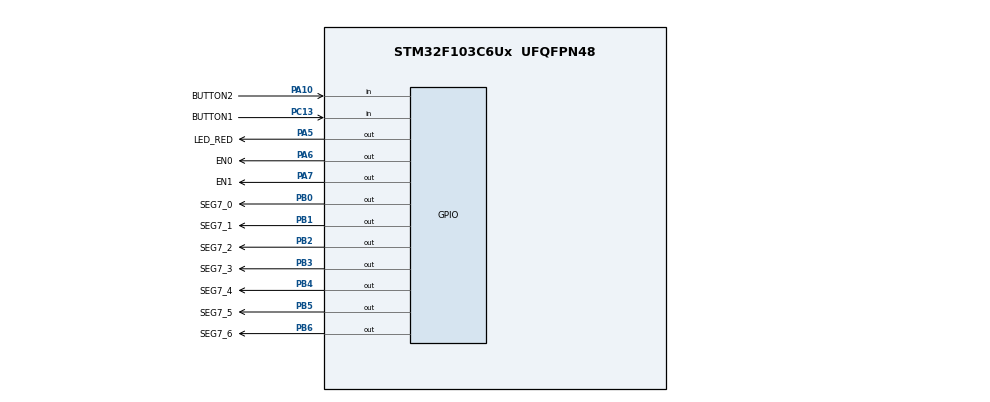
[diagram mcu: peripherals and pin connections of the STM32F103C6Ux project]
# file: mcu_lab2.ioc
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Mcu.Family=STM32F1
Mcu.Name=STM32F103C6Ux
Mcu.Package=UFQFPN48
NVIC.PriorityGroup=NVIC_PRIORITYGROUP_4
NVIC.TIM2_IRQn=true\:0\:0\:false\:false\:true\:true\:true
PA10.GPIO_Label=BUTTON2
PA10.GPIO_PuPd=GPIO_PULLUP
PA10.Signal=GPIO_Input
PA5.GPIO_Label=LED_RED
PA5.Signal=GPIO_Output
PA6.GPIO_Label=EN0
PA6.Signal=GPIO_Output
PA7.GPIO_Label=EN1
PA7.Signal=GPIO_Output
PB0.GPIO_Label=SEG7_0
PB0.Signal=GPIO_Output
PB1.GPIO_Label=SEG7_1
PB1.Signal=GPIO_Output
PB2.GPIO_Label=SEG7_2
PB2.Signal=GPIO_Output
PB3.GPIO_Label=SEG7_3
PB3.Signal=GPIO_Output
PB4.GPIO_Label=SEG7_4
PB4.Signal=GPIO_Output
PB5.GPIO_Label=SEG7_5
PB5.Signal=GPIO_Output
PB6.GPIO_Label=SEG7_6
PB6.Signal=GPIO_Output
PC13-TAMPER-RTC.GPIO_Label=BUTTON1
PC13-TAMPER-RTC.GPIO_PuPd=GPIO_PULLUP
PC13-TAMPER-RTC.Signal=GPIO_Input
ProjectManager.HeapSize=0x200
ProjectManager.StackSize=0x400
ProjectManager.TargetToolchain=STM32CubeIDE
RCC.APB1Freq_Value=8000000
RCC.APB2Freq_Value=8000000
TIM2.Period=9
TIM2.Prescaler=7999
VP_SYS_VS_ND.Mode=No_Debug
VP_TIM2_VS_ClockSourceINT.Mode=Internal
board=custom

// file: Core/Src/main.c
/* USER CODE BEGIN Header */
/**
  ******************************************************************************
  * @file           : main.c
  * @brief          : Main program body
  ******************************************************************************
  * @attention
  *
  * <h2><center>&copy; Copyright (c) 2022 STMicroelectronics.
  * All rights reserved.</center></h2>
  *
  * This software component is licensed by ST under BSD 3-Clause license,
  * the "License"; You may not use this file except in compliance with the
  * License. You may obtain a copy of the License at:
  *                        opensource.org/licenses/BSD-3-Clause
  *
  ******************************************************************************
  */
/* USER CODE END Header */
#include "main.h"

/* USER CODE BEGIN Includes */
#include "software_timer.h"
/* USER CODE END Includes */

TIM_HandleTypeDef htim2;

void SystemClock_Config(void);
static void MX_TIM2_Init(void);
static void MX_GPIO_Init(void);

/* USER CODE BEGIN 0 */
void display7SEG(int num) {
  switch(num) {
	  case 0 : {
		  HAL_GPIO_WritePin(SEG7_0_GPIO_Port, SEG7_0_Pin, 0);
		  HAL_GPIO_WritePin(SEG7_1_GPIO_Port, SEG7_1_Pin, 0);
		  HAL_GPIO_WritePin(SEG7_2_GPIO_Port, SEG7_2_Pin, 0);
		  HAL_GPIO_WritePin(SEG7_3_GPIO_Port, SEG7_3_Pin, 0);
		  HAL_GPIO_WritePin(SEG7_4_GPIO_Port, SEG7_4_Pin, 0);
		  HAL_GPIO_WritePin(SEG7_5_GPIO_Port, SEG7_5_Pin, 0);
		  HAL_GPIO_WritePin(SEG7_6_GPIO_Port, SEG7_6_Pin, 1);
		  break;
	  }

	  case 1 : {
		  HAL_GPIO_WritePin(SEG7_0_GPIO_Port, SEG7_0_Pin, 1);
		  HAL_GPIO_WritePin(SEG7_1_GPIO_Port, SEG7_1_Pin, 0);
		  HAL_GPIO_WritePin(SEG7_2_GPIO_Port, SEG7_2_Pin, 0);
		  HAL_GPIO_WritePin(SEG7_3_GPIO_Port, SEG7_3_Pin, 1);
		  HAL_GPIO_WritePin(SEG7_4_GPIO_Port, SEG7_4_Pin, 1);
		  HAL_GPIO_WritePin(SEG7_5_GPIO_Port, SEG7_5_Pin, 1);
		  HAL_GPIO_WritePin(SEG7_6_GPIO_Port, SEG7_6_Pin, 1);
		  break;
	  }

	  case 2 : {
		  HAL_GPIO_WritePin(SEG7_0_GPIO_Port, SEG7_0_Pin, 0);
		  HAL_GPIO_WritePin(SEG7_1_GPIO_Port, SEG7_1_Pin, 0);
		  HAL_GPIO_WritePin(SEG7_2_GPIO_Port, SEG7_2_Pin, 1);
		  HAL_GPIO_WritePin(SEG7_3_GPIO_Port, SEG7_3_Pin, 0);
		  HAL_GPIO_WritePin(SEG7_4_GPIO_Port, SEG7_4_Pin, 0);
		  HAL_GPIO_WritePin(SEG7_5_GPIO_Port, SEG7_5_Pin, 1);
		  HAL_GPIO_WritePin(SEG7_6_GPIO_Port, SEG7_6_Pin, 0);
		  break;
	  }
	  case 3 : {
		  HAL_GPIO_WritePin(SEG7_0_GPIO_Port, SEG7_0_Pin, 0);
		  HAL_GPIO_WritePin(SEG7_1_GPIO_Port, SEG7_1_Pin, 0);
		  HAL_GPIO_WritePin(SEG7_2_GPIO_Port, SEG7_2_Pin, 0);
		  HAL_GPIO_WritePin(SEG7_3_GPIO_Port, SEG7_3_Pin, 0);
		  HAL_GPIO_WritePin(SEG7_4_GPIO_Port, SEG7_4_Pin, 1);
		  HAL_GPIO_WritePin(SEG7_5_GPIO_Port, SEG7_5_Pin, 1);
		  HAL_GPIO_WritePin(SEG7_6_GPIO_Port, SEG7_6_Pin, 0);
		  break;
	  }
	  case 4 : {
		  HAL_GPIO_WritePin(SEG7_0_GPIO_Port, SEG7_0_Pin, 1);
		  HAL_GPIO_WritePin(SEG7_1_GPIO_Port, SEG7_1_Pin, 0);
		  HAL_GPIO_WritePin(SEG7_2_GPIO_Port, SEG7_2_Pin, 0);
		  HAL_GPIO_WritePin(SEG7_3_GPIO_Port, SEG7_3_Pin, 1);
		  HAL_GPIO_WritePin(SEG7_4_GPIO_Port, SEG7_4_Pin, 1);
		  HAL_GPIO_WritePin(SEG7_5_GPIO_Port, SEG7_5_Pin, 0);
		  HAL_GPIO_WritePin(SEG7_6_GPIO_Port, SEG7_6_Pin, 0);
		  break;
	  }
	  case 5 : {
		  HAL_GPIO_WritePin(SEG7_0_GPIO_Port, SEG7_0_Pin, 0);
		  HAL_GPIO_WritePin(SEG7_1_GPIO_Port, SEG7_1_Pin, 1);
		  HAL_GPIO_WritePin(SEG7_2_GPIO_Port, SEG7_2_Pin, 0);
		  HAL_GPIO_WritePin(SEG7_3_GPIO_Port, SEG7_3_Pin, 0);
		  HAL_GPIO_WritePin(SEG7_4_GPIO_Port, SEG7_4_Pin, 1);
		  HAL_GPIO_WritePin(SEG7_5_GPIO_Port, SEG7_5_Pin, 0);
		  HAL_GPIO_WritePin(SEG7_6_GPIO_Port, SEG7_6_Pin, 0);
		  break;
	  }
	  case 6 : {
		  HAL_GPIO_WritePin(SEG7_0_GPIO_Port, SEG7_0_Pin, 0);
		  HAL_GPIO_WritePin(SEG7_1_GPIO_Port, SEG7_1_Pin, 1);
		  HAL_GPIO_WritePin(SEG7_2_GPIO_Port, SEG7_2_Pin, 0);
		  HAL_GPIO_WritePin(SEG7_3_GPIO_Port, SEG7_3_Pin, 0);
		  HAL_GPIO_WritePin(SEG7_4_GPIO_Port, SEG7_4_Pin, 0);
		  HAL_GPIO_WritePin(SEG7_5_GPIO_Port, SEG7_5_Pin, 0);
		  HAL_GPIO_WritePin(SEG7_6_GPIO_Port, SEG7_6_Pin, 0);
		  break;
	  }
	  case 7 : {
		  HAL_GPIO_WritePin(SEG7_0_GPIO_Port, SEG7_0_Pin, 0);
		  HAL_GPIO_WritePin(SEG7_1_GPIO_Port, SEG7_1_Pin, 0);
		  HAL_GPIO_WritePin(SEG7_2_GPIO_Port, SEG7_2_Pin, 0);
		  HAL_GPIO_WritePin(SEG7_3_GPIO_Port, SEG7_3_Pin, 1);
		  HAL_GPIO_WritePin(SEG7_4_GPIO_Port, SEG7_4_Pin, 1);
		  HAL_GPIO_WritePin(SEG7_5_GPIO_Port, SEG7_5_Pin, 1);
		  HAL_GPIO_WritePin(SEG7_6_GPIO_Port, SEG7_6_Pin, 1);
		  break;
	  }
	  case 8 : {
		  HAL_GPIO_WritePin(SEG7_0_GPIO_Port, SEG7_0_Pin, 0);
		  HAL_GPIO_WritePin(SEG7_1_GPIO_Port, SEG7_1_Pin, 0);
		  HAL_GPIO_WritePin(SEG7_2_GPIO_Port, SEG7_2_Pin, 0);
		  HAL_GPIO_WritePin(SEG7_3_GPIO_Port, SEG7_3_Pin, 0);
		  HAL_GPIO_WritePin(SEG7_4_GPIO_Port, SEG7_4_Pin, 0);
		  HAL_GPIO_WritePin(SEG7_5_GPIO_Port, SEG7_5_Pin, 0);
		  HAL_GPIO_WritePin(SEG7_6_GPIO_Port, SEG7_6_Pin, 0);
		  break;
	  }
	  case 9 : {
		  HAL_GPIO_WritePin(SEG7_0_GPIO_Port, SEG7_0_Pin, 0);
		  HAL_GPIO_WritePin(SEG7_1_GPIO_Port, SEG7_1_Pin, 0);
		  HAL_GPIO_WritePin(SEG7_2_GPIO_Port, SEG7_2_Pin, 0);
		  HAL_GPIO_WritePin(SEG7_3_GPIO_Port, SEG7_3_Pin, 0);
		  HAL_GPIO_WritePin(SEG7_4_GPIO_Port, SEG7_4_Pin, 1);
		  HAL_GPIO_WritePin(SEG7_5_GPIO_Port, SEG7_5_Pin, 0);
		  HAL_GPIO_WritePin(SEG7_6_GPIO_Port, SEG7_6_Pin, 0);
		  break;
	  }

	  default : {
		  HAL_GPIO_WritePin(SEG7_0_GPIO_Port, SEG7_0_Pin, 1);
		  HAL_GPIO_WritePin(SEG7_1_GPIO_Port, SEG7_1_Pin, 1);
		  HAL_GPIO_WritePin(SEG7_2_GPIO_Port, SEG7_2_Pin, 1);
		  HAL_GPIO_WritePin(SEG7_3_GPIO_Port, SEG7_3_Pin, 1);
		  HAL_GPIO_WritePin(SEG7_4_GPIO_Port, SEG7_4_Pin, 1);
		  HAL_GPIO_WritePin(SEG7_5_GPIO_Port, SEG7_5_Pin, 1);
		  HAL_GPIO_WritePin(SEG7_6_GPIO_Port, SEG7_6_Pin, 1);
		  break;
	  }
  }
}
/* USER CODE END 0 */

int main(void)
{

  /* MCU Configuration--------------------------------------------------------*/

  /* Reset of all peripherals, Initializes the Flash interface and the Systick. */
  HAL_Init();

  /* Configure the system clock */
  SystemClock_Config();

  /* Initialize all configured peripherals */
  MX_TIM2_Init();
  MX_GPIO_Init();
  /* USER CODE BEGIN 2 */
  HAL_TIM_Base_Start_IT(&htim2);
  /* USER CODE END 2 */

  /* Infinite loop */
  /* USER CODE BEGIN WHILE */
  setTimer1(200);
  setTimer2(300);
  int status = 0;
  while (1)
  {
//	 if (timer1_flag == 1) {
//		 // TODO
//		 setTimer1(200);
//		 HAL_GPIO_WritePin(GPIOA, GPIO_PIN_5, 0);
//		 HAL_GPIO_WritePin(GPIOA, GPIO_PIN_6, 1);
//	 }
//
//	 if (timer2_flag == 1) {
//		 // TODO
//		 setTimer2(300);
//		 HAL_GPIO_WritePin(GPIOA, GPIO_PIN_5, 1);
//		 HAL_GPIO_WritePin(GPIOA, GPIO_PIN_6, 0);
//	 }

//	  if (HAL_GPIO_ReadPin(GPIOA, BUTTON1_Pin) == 0){
//		  HAL_GPIO_TogglePin(GPIOA, GPIO_PIN_5);
//	  }
    /* USER CODE END WHILE */

  }
}

void SystemClock_Config(void)
{
  RCC_OscInitTypeDef RCC_OscInitStruct = {0};
  RCC_ClkInitTypeDef RCC_ClkInitStruct = {0};

  /** Initializes the RCC Oscillators according to the specified parameters
  * in the RCC_OscInitTypeDef structure.
  */
  RCC_OscInitStruct.OscillatorType = RCC_OSCILLATORTYPE_HSI;
  RCC_OscInitStruct.HSIState = RCC_HSI_ON;
  RCC_OscInitStruct.HSICalibrationValue = RCC_HSICALIBRATION_DEFAULT;
  RCC_OscInitStruct.PLL.PLLState = RCC_PLL_NONE;
  if (HAL_RCC_OscConfig(&RCC_OscInitStruct) != HAL_OK)
  {
    Error_Handler();
  }
  /** Initializes the CPU, AHB and APB buses clocks
  */
  RCC_ClkInitStruct.ClockType = RCC_CLOCKTYPE_HCLK|RCC_CLOCKTYPE_SYSCLK
                              |RCC_CLOCKTYPE_PCLK1|RCC_CLOCKTYPE_PCLK2;
  RCC_ClkInitStruct.SYSCLKSource = RCC_SYSCLKSOURCE_HSI;
  RCC_ClkInitStruct.AHBCLKDivider = RCC_SYSCLK_DIV1;
  RCC_ClkInitStruct.APB1CLKDivider = RCC_HCLK_DIV1;
  RCC_ClkInitStruct.APB2CLKDivider = RCC_HCLK_DIV1;

  if (HAL_RCC_ClockConfig(&RCC_ClkInitStruct, FLASH_LATENCY_0) != HAL_OK)
  {
    Error_Handler();
  }
}

static void MX_TIM2_Init(void)
{

  TIM_ClockConfigTypeDef sClockSourceConfig = {0};
  TIM_MasterConfigTypeDef sMasterConfig = {0};

  htim2.Instance = TIM2;
  htim2.Init.Prescaler = 7999;
  htim2.Init.CounterMode = TIM_COUNTERMODE_UP;
  htim2.Init.Period = 9;
  htim2.Init.ClockDivision = TIM_CLOCKDIVISION_DIV1;
  htim2.Init.AutoReloadPreload = TIM_AUTORELOAD_PRELOAD_DISABLE;
  if (HAL_TIM_Base_Init(&htim2) != HAL_OK)
  {
    Error_Handler();
  }
  sClockSourceConfig.ClockSource = TIM_CLOCKSOURCE_INTERNAL;
  if (HAL_TIM_ConfigClockSource(&htim2, &sClockSourceConfig) != HAL_OK)
  {
    Error_Handler();
  }
  sMasterConfig.MasterOutputTrigger = TIM_TRGO_RESET;
  sMasterConfig.MasterSlaveMode = TIM_MASTERSLAVEMODE_DISABLE;
  if (HAL_TIMEx_MasterConfigSynchronization(&htim2, &sMasterConfig) != HAL_OK)
  {
    Error_Handler();
  }

}

static void MX_GPIO_Init(void)
{
  GPIO_InitTypeDef GPIO_InitStruct = {0};

  /* GPIO Ports Clock Enable */
  __HAL_RCC_GPIOC_CLK_ENABLE();
  __HAL_RCC_GPIOA_CLK_ENABLE();
  __HAL_RCC_GPIOB_CLK_ENABLE();

  /*Configure GPIO pin Output Level */
  HAL_GPIO_WritePin(GPIOA, LED_RED_Pin|EN0_Pin|EN1_Pin, GPIO_PIN_RESET);

  /*Configure GPIO pin Output Level */
  HAL_GPIO_WritePin(GPIOB, SEG7_0_Pin|SEG7_1_Pin|SEG7_2_Pin|SEG7_3_Pin
                          |SEG7_4_Pin|SEG7_5_Pin|SEG7_6_Pin, GPIO_PIN_RESET);

  /*Configure GPIO pin : BUTTON1_Pin */
  GPIO_InitStruct.Pin = BUTTON1_Pin;
  GPIO_InitStruct.Mode = GPIO_MODE_INPUT;
  GPIO_InitStruct.Pull = GPIO_PULLUP;
  HAL_GPIO_Init(BUTTON1_GPIO_Port, &GPIO_InitStruct);

  /*Configure GPIO pins : LED_RED_Pin EN0_Pin EN1_Pin */
  GPIO_InitStruct.Pin = LED_RED_Pin|EN0_Pin|EN1_Pin;
  GPIO_InitStruct.Mode = GPIO_MODE_OUTPUT_PP;
  GPIO_InitStruct.Pull = GPIO_NOPULL;
  GPIO_InitStruct.Speed = GPIO_SPEED_FREQ_LOW;
  HAL_GPIO_Init(GPIOA, &GPIO_InitStruct);

  /*Configure GPIO pins : SEG7_0_Pin SEG7_1_Pin SEG7_2_Pin SEG7_3_Pin
                           SEG7_4_Pin SEG7_5_Pin SEG7_6_Pin */
  GPIO_InitStruct.Pin = SEG7_0_Pin|SEG7_1_Pin|SEG7_2_Pin|SEG7_3_Pin
                          |SEG7_4_Pin|SEG7_5_Pin|SEG7_6_Pin;
  GPIO_InitStruct.Mode = GPIO_MODE_OUTPUT_PP;
  GPIO_InitStruct.Pull = GPIO_NOPULL;
  GPIO_InitStruct.Speed = GPIO_SPEED_FREQ_LOW;
  HAL_GPIO_Init(GPIOB, &GPIO_InitStruct);

}

/* USER CODE BEGIN 4 */
//int counter = 100;
int switch_time = 50;
int counter = 100;
int status_LED = 0;
void HAL_TIM_PeriodElapsedCallback(TIM_HandleTypeDef *htim){
	timerRun();
	getKeyInput();
}
/* USER CODE END 4 */

void Error_Handler(void)
{
  __disable_irq();
  while (1)
  {
  }
}

/************************ (C) COPYRIGHT STMicroelectronics *****END OF FILE****/
